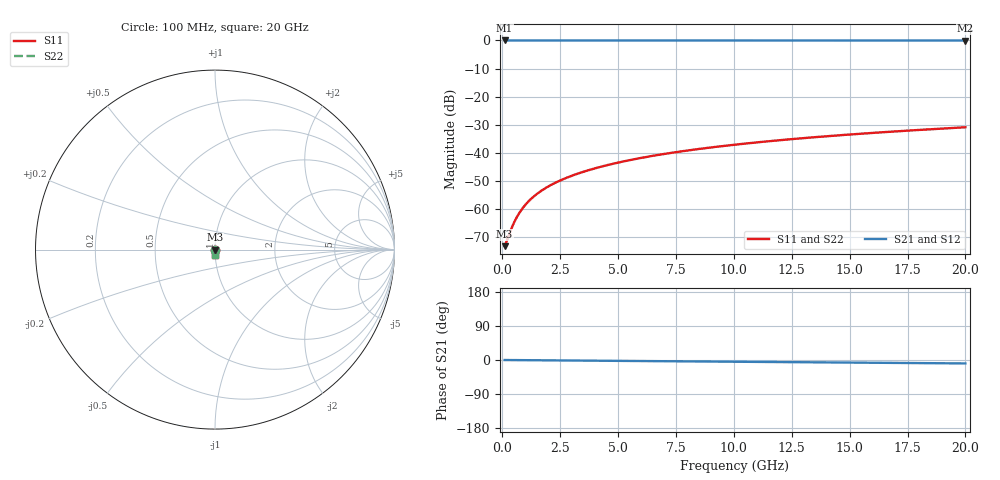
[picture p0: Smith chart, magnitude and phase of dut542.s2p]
! Touchstone file exported from HFSS 2026.1.0
!  File:  C:/ffzhzh/LocalFiles/Ansys_Project_Files/temp_train_TSV_542_1783024063_55676.aedt
!  Generated:  04:29:49 AM Jul  3, 2026
!  Design:  TSV
!  Project:  temp_train_TSV_542_1783024063_55676
! Variables:
!  h_bsmrdl = 2um
!  h_ox = 20um
!  h_rdl = 5um
!  h_sub = 95.62um
!  h_tmrdl = 5um
!  h_tsv = 95.62um
!  h_via = 3um
!  l_bsmrdl = 300um
!  l_sub = 416.6um
!  l_tmrdl = 200um
!  m_sub = 200um
!  pitch = 28.3um
!  r_tsv = 8.3um
!  s_tmrdl = 10um
!  w_bsmrdl = 18um
!  w_sub = 500um
!  w_tmrdl = 12um
!  x_tsv_center1 = 206um
!  x_tsv_center2 = 524um
!  x_tsv_center3 = 736um
!  x_tsv_center4 = 1054um
!  x_tsv_center5 = 1266um
!  x_tsv_center6 = 1584um
# GHz S MA R 50.000000
! Terminal data exported
! Port[1] = TSV1_1_T1
! Port[2] = TSV1_1_T2
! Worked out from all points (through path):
!   200 points, 100 MHz to 20 GHz, reference 50 ohm
!   highest |S21| = 0.00 dB at 100 MHz (marker M1); lowest = 0.0 dB at 20 GHz (marker M2)
!   group delay of S21, straight-line fit = 1.25 ps
!   lowest |S11| = -73.1 dB at 100 MHz (marker M3), VSWR 1.00, Z = 50 - j0.00832 ohm
!   |S11| at or under -10 dB: start of sweep to end of sweep
!   |S22| runs from -73.1 to -30.8 dB; largest |S21 - S12| = 3.1e-15
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0.1  0.0002217 -22.0  0.9998 -0.0  0.9998 -0.0  0.0002217 -22.0
! Gamma 0 0 0 0
! Port Impedance 50 0 50 0
0.4  0.0004626 -52.9  0.9997 -0.2  0.9997 -0.2  0.0004626 -52.9
0.5  0.000573 -57.1  0.9997 -0.2  0.9997 -0.2  0.000573 -57.1
0.6  0.0006916 -60.3  0.9997 -0.3  0.9997 -0.3  0.0006916 -60.3
0.7  0.000816 -62.8  0.9996 -0.3  0.9996 -0.3  0.000816 -62.8
0.9  0.001076 -66.8  0.9996 -0.4  0.9996 -0.4  0.001076 -66.8
1  0.001209 -68.4  0.9995 -0.5  0.9995 -0.5  0.001209 -68.4
1.2  0.001478 -71.0  0.9995 -0.6  0.9995 -0.6  0.001478 -71.0
1.4  0.00175 -73.1  0.9995 -0.7  0.9995 -0.7  0.00175 -73.1
1.6  0.002022 -74.7  0.9994 -0.7  0.9994 -0.7  0.002022 -74.7
2.1  0.002707 -77.7  0.9994 -1.0  0.9994 -1.0  0.002707 -77.7
2.7  0.003533 -80.0  0.9993 -1.2  0.9993 -1.2  0.003533 -80.0
3.5  0.004646 -82.0  0.9992 -1.6  0.9992 -1.6  0.004646 -82.0
4.2  0.00563 -83.2  0.9991 -1.9  0.9991 -1.9  0.00563 -83.2
5  0.006766 -84.4  0.999 -2.3  0.999 -2.3  0.006766 -84.4
5.9  0.008056 -85.4  0.999 -2.7  0.999 -2.7  0.008056 -85.4
6.8  0.009356 -86.4  0.9989 -3.1  0.9989 -3.1  0.009356 -86.4
8.3  0.01153 -87.7  0.9987 -3.8  0.9987 -3.8  0.01153 -87.7
10.1  0.01416 -89.2  0.9986 -4.6  0.9986 -4.6  0.01416 -89.2
13.4  0.01899 -91.5  0.9983 -6.1  0.9983 -6.1  0.01899 -91.5
16.7  0.02383 -93.4  0.998 -7.6  0.998 -7.6  0.02383 -93.4
20  0.02869 -95.3  0.9977 -9.0  0.9977 -9.0  0.02869 -95.3
